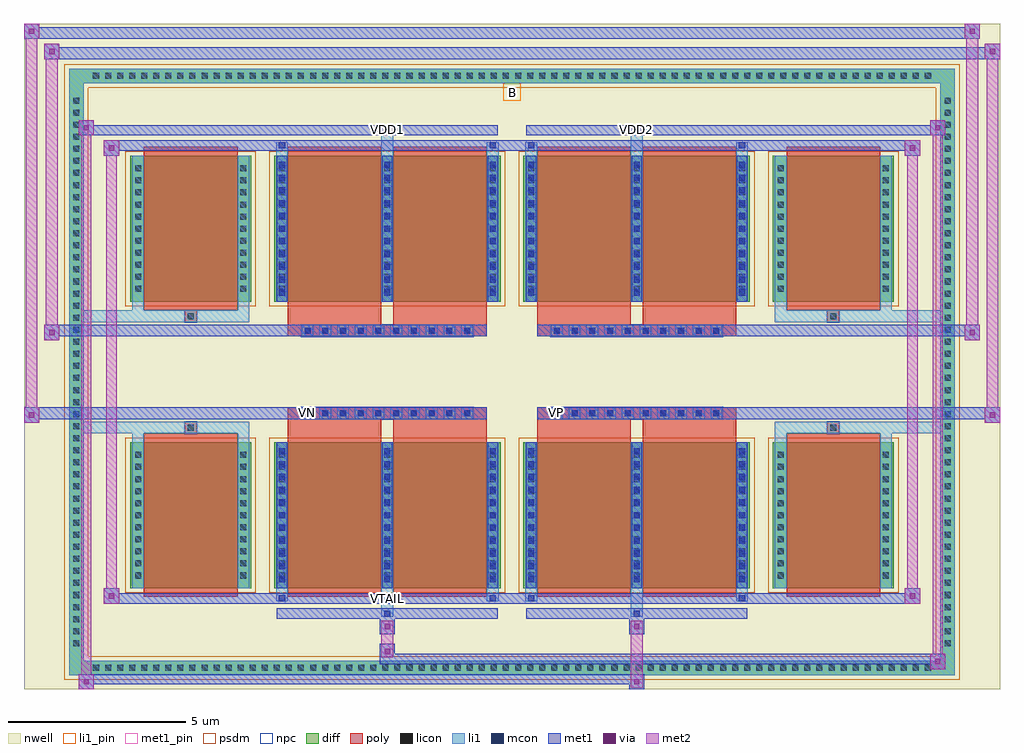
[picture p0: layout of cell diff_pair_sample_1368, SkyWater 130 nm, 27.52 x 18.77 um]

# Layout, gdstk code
import gdstk
lib = gdstk.Library(unit=1e-6, precision=5e-09)
def R(c, l, rs):  # rectangles x0, y0, x1, y1
    for r in rs: c.add(gdstk.rectangle(r[:2], r[2:], *l))
def A(c, l, x, y, w, h, nx, ny, dx, dy):  # array of equal rectangles
    R(c, l, [(x+i*dx, y+j*dy, x+i*dx+w, y+j*dy+h) for i in range(nx) for j in range(ny)])
def P(c, l, *ps):  # polygons
    for p in ps: c.add(gdstk.Polygon(p, *l))
nwell = (64, 20)
diff = (65, 20)
poly = (66, 20)
licon = (66, 44)
li1_pin = (67, 16)
li1 = (67, 20)
mcon = (67, 44)
met1_pin = (68, 16)
met1 = (68, 20)
via = (68, 44)
met2 = (69, 20)
psdm = (94, 20)
npc = (95, 20)

diff_pair_sample_1368 = lib.new_cell('diff_pair_sample_1368')
R(diff_pair_sample_1368, nwell, [(-13.76,-8.95,13.76,9.82), (-11.08,-7.14,-0.01,-0.8), (0.01,-7.14,11.08,-0.8), (-11.08,0.8,-0.01,7.14), (0.01,0.8,11.08,7.14)])
A(diff_pair_sample_1368, diff, -11.935, -8.55, 0.41, 0.41, 70, 2, 0.34, 16.69)
A(diff_pair_sample_1368, diff, -12.49, -7.855, 0.41, 0.41, 1, 46, 0, 0.34)
A(diff_pair_sample_1368, diff, 12.08, -7.855, 0.41, 0.41, 1, 46, 0, 0.34)
R(diff_pair_sample_1368, diff, [(-11.935,-8.55,11.935,-8.14), (-12.49,-7.855,-12.08,7.855), (12.08,-7.855,12.49,7.855), (-10.77,-6.095,-7.35,-1.985), (-6.71,-6.095,-0.32,-1.985), (0.32,-6.095,6.71,-1.985), (7.35,-6.095,10.77,-1.985), (-10.77,1.985,-7.35,6.095), (-6.71,1.985,-0.32,6.095), (0.32,1.985,6.71,6.095), (7.35,1.985,10.77,6.095), (-11.935,8.14,11.935,8.55)])
P(diff_pair_sample_1368, diff, [(12.49,8.55),(-12.49,8.55),(-12.49,-8.14),(-12.08,-8.14),(-12.08,8.14),(12.08,8.14),(12.08,-8.14),(-12.08,-8.14),(-12.49,-8.14),(-12.49,-8.55),(12.49,-8.55)])
A(diff_pair_sample_1368, poly, -5.93, -1.33, 0.33, 0.33, 10, 2, 0.5, 2.33)
A(diff_pair_sample_1368, poly, 1.1, -1.33, 0.33, 0.33, 10, 2, 0.5, 2.33)
R(diff_pair_sample_1368, poly, [(-10.38,-6.345,-7.74,-1.735), (-6.32,-6.345,-3.68,-1.735), (-3.35,-6.345,-0.71,-1.735), (0.71,-6.345,3.35,-1.735), (3.68,-6.345,6.32,-1.735), (7.74,-6.345,10.38,-1.735), (-9.225,-1.735,-8.895,-1.405), (-9.225,-1.735,-8.895,-1.405), (-6.32,-1.735,-3.68,-1.33), (-3.35,-1.735,-0.71,-1.33), (0.71,-1.735,3.35,-1.33), (3.68,-1.735,6.32,-1.33), (8.895,-1.735,9.225,-1.405), (8.895,-1.735,9.225,-1.405), (-6.32,-1.33,-0.71,-1), (0.71,-1.33,6.32,-1), (-6.32,1,-0.71,1.33), (0.71,1,6.32,1.33), (-6.32,1.33,-3.68,1.735), (-3.35,1.33,-0.71,1.735), (0.71,1.33,3.35,1.735), (3.68,1.33,6.32,1.735), (-9.225,1.405,-8.895,1.735), (-9.225,1.405,-8.895,1.735), (8.895,1.405,9.225,1.735), (8.895,1.405,9.225,1.735), (-10.38,1.735,-7.74,6.345), (-6.32,1.735,-3.68,6.345), (-3.35,1.735,-0.71,6.345), (0.71,1.735,3.35,6.345), (3.68,1.735,6.32,6.345), (7.74,1.735,10.38,6.345)])
A(diff_pair_sample_1368, licon, -11.815, -8.43, 0.17, 0.17, 70, 2, 0.34, 16.69)
A(diff_pair_sample_1368, licon, -12.37, -7.735, 0.17, 0.17, 1, 46, 0, 0.34)
A(diff_pair_sample_1368, licon, 12.2, -7.735, 0.17, 0.17, 1, 46, 0, 0.34)
A(diff_pair_sample_1368, licon, -10.63, -5.825, 0.17, 0.17, 1, 11, 0, 0.34)
A(diff_pair_sample_1368, licon, -7.66, -5.825, 0.17, 0.17, 1, 11, 0, 0.34)
A(diff_pair_sample_1368, licon, -6.57, -5.825, 0.17, 0.17, 3, 11, 2.97, 0.34)
A(diff_pair_sample_1368, licon, 0.46, -5.825, 0.17, 0.17, 3, 11, 2.97, 0.34)
A(diff_pair_sample_1368, licon, 7.49, -5.825, 0.17, 0.17, 1, 11, 0, 0.34)
A(diff_pair_sample_1368, licon, 10.46, -5.825, 0.17, 0.17, 1, 11, 0, 0.34)
A(diff_pair_sample_1368, licon, -5.85, -1.25, 0.17, 0.17, 10, 2, 0.5, 2.33)
A(diff_pair_sample_1368, licon, 1.18, -1.25, 0.17, 0.17, 10, 2, 0.5, 2.33)
A(diff_pair_sample_1368, licon, -10.63, 2.255, 0.17, 0.17, 1, 11, 0, 0.34)
A(diff_pair_sample_1368, licon, -7.66, 2.255, 0.17, 0.17, 1, 11, 0, 0.34)
A(diff_pair_sample_1368, licon, -6.57, 2.255, 0.17, 0.17, 3, 11, 2.97, 0.34)
A(diff_pair_sample_1368, licon, 0.46, 2.255, 0.17, 0.17, 3, 11, 2.97, 0.34)
A(diff_pair_sample_1368, licon, 7.49, 2.255, 0.17, 0.17, 1, 11, 0, 0.34)
A(diff_pair_sample_1368, licon, 10.46, 2.255, 0.17, 0.17, 1, 11, 0, 0.34)
R(diff_pair_sample_1368, licon, [(-9.145,-1.655,-8.975,-1.485), (8.975,-1.655,9.145,-1.485), (-9.145,1.485,-8.975,1.655), (8.975,1.485,9.145,1.655)])
R(diff_pair_sample_1368, li1_pin, [(-0.25,7.64,0.25,8.14)])
A(diff_pair_sample_1368, li1, -11.895, -8.51, 0.33, 0.33, 70, 2, 0.34, 16.69)
A(diff_pair_sample_1368, li1, -12.45, -7.815, 0.33, 0.33, 1, 46, 0, 0.34)
A(diff_pair_sample_1368, li1, 12.12, -7.815, 0.33, 0.33, 1, 46, 0, 0.34)
A(diff_pair_sample_1368, li1, -6.65, -6.095, 0.33, 4.11, 3, 2, 2.97, 8.08)
A(diff_pair_sample_1368, li1, 0.38, -6.095, 0.33, 4.11, 3, 2, 2.97, 8.08)
A(diff_pair_sample_1368, li1, -6.57, -5.925, 0.17, 0.17, 3, 11, 2.97, 0.36)
A(diff_pair_sample_1368, li1, -6.57, -5.925, 0.17, 3.77, 3, 2, 2.97, 8.08)
A(diff_pair_sample_1368, li1, 0.46, -5.925, 0.17, 0.17, 3, 11, 2.97, 0.36)
A(diff_pair_sample_1368, li1, 0.46, -5.925, 0.17, 3.77, 3, 2, 2.97, 8.08)
A(diff_pair_sample_1368, li1, -10.71, -5.905, 0.33, 0.33, 1, 11, 0, 0.34)
A(diff_pair_sample_1368, li1, -7.74, -5.905, 0.33, 0.33, 1, 11, 0, 0.34)
A(diff_pair_sample_1368, li1, -6.65, -5.905, 0.33, 0.33, 3, 11, 2.97, 0.34)
A(diff_pair_sample_1368, li1, 0.38, -5.905, 0.33, 0.33, 3, 11, 2.97, 0.34)
A(diff_pair_sample_1368, li1, 7.41, -5.905, 0.33, 0.33, 1, 11, 0, 0.34)
A(diff_pair_sample_1368, li1, 10.38, -5.905, 0.33, 0.33, 1, 11, 0, 0.34)
A(diff_pair_sample_1368, li1, -5.93, -1.33, 0.33, 0.33, 10, 2, 0.5, 2.33)
A(diff_pair_sample_1368, li1, 1.1, -1.33, 0.33, 0.33, 10, 2, 0.5, 2.33)
A(diff_pair_sample_1368, li1, -6.57, 2.155, 0.17, 0.17, 3, 11, 2.97, 0.36)
A(diff_pair_sample_1368, li1, 0.46, 2.155, 0.17, 0.17, 3, 11, 2.97, 0.36)
A(diff_pair_sample_1368, li1, -10.71, 2.175, 0.33, 0.33, 1, 11, 0, 0.34)
A(diff_pair_sample_1368, li1, -7.74, 2.175, 0.33, 0.33, 1, 11, 0, 0.34)
A(diff_pair_sample_1368, li1, -6.65, 2.175, 0.33, 0.33, 3, 11, 2.97, 0.34)
A(diff_pair_sample_1368, li1, 0.38, 2.175, 0.33, 0.33, 3, 11, 2.97, 0.34)
A(diff_pair_sample_1368, li1, 7.41, 2.175, 0.33, 0.33, 1, 11, 0, 0.34)
A(diff_pair_sample_1368, li1, 10.38, 2.175, 0.33, 0.33, 1, 11, 0, 0.34)
R(diff_pair_sample_1368, li1, [(-12.49,-8.55,-12.08,-8.14), (-12.49,-8.55,-12.08,-8.14), (-12.08,-8.55,12.08,-8.14), (12.08,-8.55,12.49,-8.14), (12.08,-8.55,12.49,-8.14), (-12.49,-8.14,-12.08,8.14), (12.08,-8.14,12.49,8.14), (-3.68,-6.9,-3.35,-6.095), (-3.6,-6.9,-3.43,-6.73), (3.35,-6.9,3.68,-6.095), (3.43,-6.9,3.6,-6.73), (-6.65,-6.47,-6.32,-6.095), (-6.57,-6.47,-6.4,-6.3), (-0.71,-6.47,-0.38,-6.095), (-0.63,-6.47,-0.46,-6.3), (0.38,-6.47,0.71,-6.095), (0.46,-6.47,0.63,-6.3), (6.32,-6.47,6.65,-6.095), (6.4,-6.47,6.57,-6.3), (-10.71,-6.095,-10.38,-1.985), (-7.74,-6.095,-7.41,-1.985), (7.41,-6.095,7.74,-1.985), (10.38,-6.095,10.71,-1.985), (-10.71,-1.985,-10.38,-1.405), (-7.74,-1.985,-7.41,-1.405), (7.41,-1.985,7.74,-1.405), (10.38,-1.985,10.71,-1.405), (-12.49,-1.735,-9.225,-1.405), (-10.71,-1.735,-9.225,-1.405), (-9.225,-1.735,-8.895,-1.405), (-8.895,-1.735,-7.41,-1.405), (7.41,-1.735,8.895,-1.405), (8.895,-1.735,9.225,-1.405), (8.895,-1.735,12.49,-1.405), (9.225,-1.735,10.71,-1.405), (-12.49,1.405,-9.225,1.735), (-10.71,1.405,-9.225,1.735), (-10.71,1.405,-10.38,1.985), (-9.225,1.405,-8.895,1.735), (-8.895,1.405,-7.41,1.735), (-7.74,1.405,-7.41,1.985), (7.41,1.405,8.895,1.735), (7.41,1.405,7.74,1.985), (8.895,1.405,9.225,1.735), (8.895,1.405,12.49,1.735), (9.225,1.405,10.71,1.735), (10.38,1.405,10.71,1.985), (-10.71,1.985,-10.38,6.095), (-7.74,1.985,-7.41,6.095), (7.41,1.985,7.74,6.095), (10.38,1.985,10.71,6.095), (-6.65,6.095,-6.32,6.47), (-3.68,6.095,-3.35,6.9), (-0.71,6.095,-0.38,6.47), (0.38,6.095,0.71,6.47), (3.35,6.095,3.68,6.9), (6.32,6.095,6.65,6.47), (-6.57,6.3,-6.4,6.47), (-0.63,6.3,-0.46,6.47), (0.46,6.3,0.63,6.47), (6.4,6.3,6.57,6.47), (-3.6,6.73,-3.43,6.9), (3.43,6.73,3.6,6.9), (-12.49,8.14,-12.08,8.55), (-12.49,8.14,-12.08,8.55), (-12.08,8.14,12.08,8.55), (12.08,8.14,12.49,8.55), (12.08,8.14,12.49,8.55)])
A(diff_pair_sample_1368, mcon, -6.57, -5.925, 0.17, 0.17, 3, 11, 2.97, 0.36)
A(diff_pair_sample_1368, mcon, 0.46, -5.925, 0.17, 0.17, 3, 11, 2.97, 0.36)
A(diff_pair_sample_1368, mcon, -5.85, -1.25, 0.17, 0.17, 10, 2, 0.5, 2.33)
A(diff_pair_sample_1368, mcon, 1.18, -1.25, 0.17, 0.17, 10, 2, 0.5, 2.33)
A(diff_pair_sample_1368, mcon, -6.57, 2.155, 0.17, 0.17, 3, 11, 2.97, 0.36)
A(diff_pair_sample_1368, mcon, 0.46, 2.155, 0.17, 0.17, 3, 11, 2.97, 0.36)
R(diff_pair_sample_1368, mcon, [(-3.6,-6.9,-3.43,-6.73), (3.43,-6.9,3.6,-6.73), (-6.57,-6.47,-6.4,-6.3), (-0.63,-6.47,-0.46,-6.3), (0.46,-6.47,0.63,-6.3), (6.4,-6.47,6.57,-6.3), (-6.57,6.3,-6.4,6.47), (-0.63,6.3,-0.46,6.47), (0.46,6.3,0.63,6.47), (6.4,6.3,6.57,6.47), (-3.6,6.73,-3.43,6.9), (3.43,6.73,3.6,6.9)])
R(diff_pair_sample_1368, met1_pin, [(-3.65,-6.51,-3.38,-6.24), (-5.9,-1.29,-5.63,-1.02), (1.13,-1.29,1.4,-1.02), (-3.65,6.69,-3.38,6.96), (3.38,6.69,3.65,6.96)])
A(diff_pair_sample_1368, met1, -6.63, -6.095, 0.29, 4.11, 3, 2, 2.97, 8.08)
A(diff_pair_sample_1368, met1, 0.4, -6.095, 0.29, 4.11, 3, 2, 2.97, 8.08)
A(diff_pair_sample_1368, met1, -6.63, -5.985, 0.29, 0.29, 3, 11, 2.97, 0.36)
A(diff_pair_sample_1368, met1, 0.4, -5.985, 0.29, 0.29, 3, 11, 2.97, 0.36)
A(diff_pair_sample_1368, met1, -5.91, -1.31, 0.29, 0.29, 10, 2, 0.5, 2.33)
A(diff_pair_sample_1368, met1, 1.12, -1.31, 0.29, 0.29, 10, 2, 0.5, 2.33)
A(diff_pair_sample_1368, met1, -6.63, 2.095, 0.29, 0.29, 3, 11, 2.97, 0.36)
A(diff_pair_sample_1368, met1, 0.4, 2.095, 0.29, 0.29, 3, 11, 2.97, 0.36)
R(diff_pair_sample_1368, met1, [(-12.22,-8.95,-11.79,-8.52), (3.3,-8.95,3.73,-8.52), (-12.22,-8.81,3.73,-8.52), (11.79,-8.38,12.22,-7.95), (-3.73,-8.24,12.22,-7.95), (-3.73,-8.1,-3.3,-7.67), (-3.73,-7.39,-3.3,-6.96), (3.3,-7.39,3.73,-6.96), (-6.63,-6.96,-0.4,-6.67), (-3.66,-6.96,-3.37,-6.67), (0.4,-6.96,6.63,-6.67), (3.37,-6.96,3.66,-6.67), (-11.51,-6.53,-11.08,-6.1), (-11.51,-6.53,-6.63,-6.24), (-6.63,-6.53,-6.34,-6.24), (-6.63,-6.53,-0.4,-6.24), (-0.69,-6.53,-0.4,-6.24), (-0.4,-6.53,0.4,-6.24), (0.4,-6.53,0.69,-6.24), (0.4,-6.53,6.63,-6.24), (6.34,-6.53,6.63,-6.24), (6.63,-6.53,11.51,-6.24), (11.08,-6.53,11.51,-6.1), (-13.76,-1.43,-13.33,-1), (13.33,-1.43,13.76,-1), (-13.76,-1.33,-0.71,-1), (-6.32,-1.33,-0.71,-1), (0.71,-1.33,6.32,-1), (0.71,-1.33,13.76,-1), (-13.19,0.9,-12.76,1.33), (12.76,0.9,13.19,1.33), (-13.19,1,-6.32,1.33), (-6.32,1,-0.71,1.33), (0.71,1,6.32,1.33), (6.32,1,13.19,1.33), (-11.51,6.1,-11.08,6.53), (11.08,6.1,11.51,6.53), (-11.51,6.24,-6.63,6.53), (-6.63,6.24,-6.34,6.53), (-6.63,6.24,-0.4,6.53), (-0.69,6.24,-0.4,6.53), (-0.4,6.24,0.4,6.53), (0.4,6.24,0.69,6.53), (0.4,6.24,6.63,6.53), (6.34,6.24,6.63,6.53), (6.63,6.24,11.51,6.53), (-12.22,6.67,-11.79,7.1), (-12.22,6.67,-6.63,6.96), (-6.63,6.67,-0.4,6.96), (-3.66,6.67,-3.37,6.96), (0.4,6.67,6.63,6.96), (3.37,6.67,3.66,6.96), (6.63,6.67,12.22,6.96), (11.79,6.67,12.22,7.1), (-13.19,8.82,-12.76,9.25), (-13.19,8.82,-11.08,9.15), (-11.08,8.82,11.08,9.15), (11.08,8.82,13.76,9.15), (13.33,8.82,13.76,9.25), (-13.76,9.39,-13.33,9.82), (-13.76,9.39,-11.08,9.72), (-11.08,9.39,11.08,9.72), (11.08,9.39,13.19,9.72), (12.76,9.39,13.19,9.82)])
R(diff_pair_sample_1368, via, [(-12.08,-8.81,-11.93,-8.66), (3.44,-8.81,3.59,-8.66), (11.93,-8.24,12.08,-8.09), (-3.59,-7.96,-3.44,-7.81), (-3.59,-7.25,-3.44,-7.1), (3.44,-7.25,3.59,-7.1), (-11.37,-6.39,-11.22,-6.24), (11.22,-6.39,11.37,-6.24), (-13.62,-1.29,-13.47,-1.14), (13.47,-1.29,13.62,-1.14), (-13.05,1.04,-12.9,1.19), (12.9,1.04,13.05,1.19), (-11.37,6.24,-11.22,6.39), (11.22,6.24,11.37,6.39), (-12.08,6.81,-11.93,6.96), (11.93,6.81,12.08,6.96), (-13.05,8.96,-12.9,9.11), (13.47,8.96,13.62,9.11), (-13.62,9.53,-13.47,9.68), (12.9,9.53,13.05,9.68)])
R(diff_pair_sample_1368, met2, [(-12.22,-8.95,-11.79,-8.52), (-12.15,-8.95,-11.86,7.1), (-11.86,-8.95,-11.79,-8.52), (-12.17,-8.9,-11.84,-8.57), (3.35,-8.9,3.68,-8.57), (3.35,-8.57,3.68,-7.34), (11.79,-8.38,12.22,-7.95), (11.86,-8.38,12.15,7.1), (12.15,-8.38,12.22,-7.95), (11.84,-8.33,12.17,-8), (-3.68,-8.05,-3.35,-7.72), (-3.68,-7.72,-3.35,-7.34), (-3.68,-7.34,-3.35,-7.01), (3.35,-7.34,3.68,-7.01), (-11.51,-6.53,-11.08,-6.1), (-11.44,-6.53,-11.15,6.53), (-11.15,-6.53,-11.08,-6.1), (11.08,-6.53,11.51,-6.1), (11.15,-6.53,11.44,6.53), (11.44,-6.53,11.51,-6.1), (-11.46,-6.48,-11.13,-6.15), (11.13,-6.48,11.46,-6.15), (-13.76,-1.43,-13.33,-1), (-13.71,-1.43,-13.38,9.82), (-13.38,-1.43,-13.33,-1), (13.33,-1.43,13.76,-1), (13.38,-1.43,13.71,9.25), (13.71,-1.43,13.76,-1), (-13.71,-1.38,-13.38,-1.05), (13.38,-1.38,13.71,-1.05), (-13.19,0.9,-12.76,1.33), (-13.14,0.9,-12.81,9.25), (-12.81,0.9,-12.76,1.33), (12.76,0.9,13.19,1.33), (12.81,0.9,13.14,9.82), (13.14,0.9,13.19,1.33), (-13.14,0.95,-12.81,1.28), (12.81,0.95,13.14,1.28), (-11.51,6.1,-11.08,6.53), (-11.15,6.1,-11.08,6.53), (11.08,6.1,11.51,6.53), (11.44,6.1,11.51,6.53), (-11.46,6.15,-11.13,6.48), (11.13,6.15,11.46,6.48), (-12.22,6.67,-11.79,7.1), (-11.86,6.67,-11.79,7.1), (11.79,6.67,12.22,7.1), (12.15,6.67,12.22,7.1), (-12.17,6.72,-11.84,7.05), (11.84,6.72,12.17,7.05), (-13.19,8.82,-12.76,9.25), (-12.81,8.82,-12.76,9.25), (13.33,8.82,13.76,9.25), (13.71,8.82,13.76,9.25), (-13.14,8.87,-12.81,9.2), (13.38,8.87,13.71,9.2), (-13.76,9.39,-13.33,9.82), (-13.38,9.39,-13.33,9.82), (12.76,9.39,13.19,9.82), (13.14,9.39,13.19,9.82), (-13.71,9.44,-13.38,9.77), (12.81,9.44,13.14,9.77)])
R(diff_pair_sample_1368, psdm, [(-10.9,-6.225,-7.22,-1.855), (-6.84,-6.225,-0.19,-1.855), (0.19,-6.225,6.84,-1.855), (7.22,-6.225,10.9,-1.855), (-10.9,1.855,-7.22,6.225), (-6.84,1.855,-0.19,6.225), (0.19,1.855,6.84,6.225), (7.22,1.855,10.9,6.225)])
P(diff_pair_sample_1368, psdm, [(12.62,8.68),(-12.62,8.68),(-12.62,-8.01),(-11.95,-8.01),(-11.95,8.01),(11.95,8.01),(11.95,-8.01),(-11.95,-8.01),(-12.62,-8.01),(-12.62,-8.68),(12.62,-8.68)])
A(diff_pair_sample_1368, npc, -5.95, -1.35, 0.37, 0.37, 10, 2, 0.5, 2.33)
A(diff_pair_sample_1368, npc, 1.08, -1.35, 0.37, 0.37, 10, 2, 0.5, 2.33)
R(diff_pair_sample_1368, npc, [(-9.245,-1.755,-8.875,-1.385), (8.875,-1.755,9.245,-1.385), (-5.95,-1.35,-5.08,-0.98), (-5.95,-1.35,-5.08,-0.98), (-5.45,-1.35,-4.58,-0.98), (-5.45,-1.35,-4.58,-0.98), (-4.95,-1.35,-4.08,-0.98), (-4.95,-1.35,-4.08,-0.98), (-4.45,-1.35,-3.58,-0.98), (-4.45,-1.35,-3.58,-0.98), (-3.95,-1.35,-3.08,-0.98), (-3.95,-1.35,-3.08,-0.98), (-3.45,-1.35,-2.58,-0.98), (-3.45,-1.35,-2.58,-0.98), (-2.95,-1.35,-2.08,-0.98), (-2.95,-1.35,-2.08,-0.98), (-2.45,-1.35,-1.58,-0.98), (-2.45,-1.35,-1.58,-0.98), (-1.95,-1.35,-1.08,-0.98), (-1.95,-1.35,-1.08,-0.98), (1.08,-1.35,1.95,-0.98), (1.08,-1.35,1.95,-0.98), (1.58,-1.35,2.45,-0.98), (1.58,-1.35,2.45,-0.98), (2.08,-1.35,2.95,-0.98), (2.08,-1.35,2.95,-0.98), (2.58,-1.35,3.45,-0.98), (2.58,-1.35,3.45,-0.98), (3.08,-1.35,3.95,-0.98), (3.08,-1.35,3.95,-0.98), (3.58,-1.35,4.45,-0.98), (3.58,-1.35,4.45,-0.98), (4.08,-1.35,4.95,-0.98), (4.08,-1.35,4.95,-0.98), (4.58,-1.35,5.45,-0.98), (4.58,-1.35,5.45,-0.98), (5.08,-1.35,5.95,-0.98), (5.08,-1.35,5.95,-0.98), (-5.95,0.98,-5.08,1.35), (-5.95,0.98,-5.08,1.35), (-5.45,0.98,-4.58,1.35), (-5.45,0.98,-4.58,1.35), (-4.95,0.98,-4.08,1.35), (-4.95,0.98,-4.08,1.35), (-4.45,0.98,-3.58,1.35), (-4.45,0.98,-3.58,1.35), (-3.95,0.98,-3.08,1.35), (-3.95,0.98,-3.08,1.35), (-3.45,0.98,-2.58,1.35), (-3.45,0.98,-2.58,1.35), (-2.95,0.98,-2.08,1.35), (-2.95,0.98,-2.08,1.35), (-2.45,0.98,-1.58,1.35), (-2.45,0.98,-1.58,1.35), (-1.95,0.98,-1.08,1.35), (-1.95,0.98,-1.08,1.35), (1.08,0.98,1.95,1.35), (1.08,0.98,1.95,1.35), (1.58,0.98,2.45,1.35), (1.58,0.98,2.45,1.35), (2.08,0.98,2.95,1.35), (2.08,0.98,2.95,1.35), (2.58,0.98,3.45,1.35), (2.58,0.98,3.45,1.35), (3.08,0.98,3.95,1.35), (3.08,0.98,3.95,1.35), (3.58,0.98,4.45,1.35), (3.58,0.98,4.45,1.35), (4.08,0.98,4.95,1.35), (4.08,0.98,4.95,1.35), (4.58,0.98,5.45,1.35), (4.58,0.98,5.45,1.35), (5.08,0.98,5.95,1.35), (5.08,0.98,5.95,1.35), (-9.245,1.385,-8.875,1.755), (8.875,1.385,9.245,1.755)])
diff_pair_sample_1368.add(gdstk.Label('VTAIL', (-3.515,-6.375), layer=68, texttype=5))
diff_pair_sample_1368.add(gdstk.Label('VN', (-5.765,-1.155), layer=68, texttype=5))
diff_pair_sample_1368.add(gdstk.Label('VP', (1.265,-1.155), layer=68, texttype=5))
diff_pair_sample_1368.add(gdstk.Label('B', (0,7.89), layer=67, texttype=5))
diff_pair_sample_1368.add(gdstk.Label('VDD2', (3.515,6.825), layer=68, texttype=5))
diff_pair_sample_1368.add(gdstk.Label('VDD1', (-3.515,6.825), layer=68, texttype=5))

lib.write_gds('diff_pair_sample_1368.gds')
